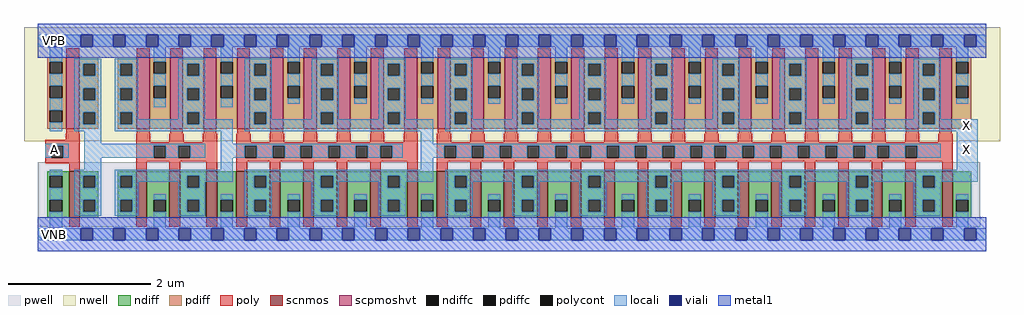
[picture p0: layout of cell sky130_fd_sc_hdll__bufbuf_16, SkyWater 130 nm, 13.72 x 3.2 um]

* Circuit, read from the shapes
.subckt sky130_fd_sc_hdll__bufbuf_16 A VGND VNB VPB VPWR X
XM1 n1 A VGND VNB sky130_fd_pr__nfet_01v8 w=0.65 l=0.15
XM2 VGND n1 n2 VNB sky130_fd_pr__nfet_01v8 w=0.65 l=0.15 m=3
XM3 n3 n2 VGND VNB sky130_fd_pr__nfet_01v8 w=0.65 l=0.15 m=6
XM4 X n3 VGND VNB sky130_fd_pr__nfet_01v8 w=0.65 l=0.15 m=16
XM5 n1 A VPWR VPB sky130_fd_pr__pfet_01v8_hvt w=1 l=0.18
XM6 VPWR n1 n2 VPB sky130_fd_pr__pfet_01v8_hvt w=1 l=0.18 m=3
XM7 n3 n2 VPWR VPB sky130_fd_pr__pfet_01v8_hvt w=1 l=0.18 m=6
XM8 X n3 VPWR VPB sky130_fd_pr__pfet_01v8_hvt w=1 l=0.18 m=16
.ends

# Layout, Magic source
magic
tech sky130A
magscale 1 2
<< nwell >>
rect -38 261 2706 582
<< pwell >>
rect 1 21 2651 203
rect 30 -17 64 21
<< scnmos >>
rect 89 47 119 177
rect 277 47 307 177
rect 371 47 401 177
rect 475 47 505 177
rect 559 47 589 177
rect 653 47 683 177
rect 747 47 777 177
rect 841 47 871 177
rect 935 47 965 177
rect 1039 47 1069 177
rect 1123 47 1153 177
rect 1217 47 1247 177
rect 1311 47 1341 177
rect 1405 47 1435 177
rect 1499 47 1529 177
rect 1593 47 1623 177
rect 1687 47 1717 177
rect 1781 47 1811 177
rect 1875 47 1905 177
rect 1969 47 1999 177
rect 2063 47 2093 177
rect 2157 47 2187 177
rect 2251 47 2281 177
rect 2345 47 2375 177
rect 2439 47 2469 177
rect 2543 47 2573 177
<< scpmoshvt >>
rect 81 297 117 497
rect 279 297 315 497
rect 373 297 409 497
rect 467 297 503 497
rect 561 297 597 497
rect 655 297 691 497
rect 749 297 785 497
rect 843 297 879 497
rect 937 297 973 497
rect 1031 297 1067 497
rect 1125 297 1161 497
rect 1219 297 1255 497
rect 1313 297 1349 497
rect 1407 297 1443 497
rect 1501 297 1537 497
rect 1595 297 1631 497
rect 1689 297 1725 497
rect 1783 297 1819 497
rect 1877 297 1913 497
rect 1971 297 2007 497
rect 2065 297 2101 497
rect 2159 297 2195 497
rect 2253 297 2289 497
rect 2347 297 2383 497
rect 2441 297 2477 497
rect 2535 297 2571 497
<< ndiff >>
rect 27 165 89 177
rect 27 131 35 165
rect 69 131 89 165
rect 27 97 89 131
rect 27 63 35 97
rect 69 63 89 97
rect 27 47 89 63
rect 119 165 171 177
rect 119 131 129 165
rect 163 131 171 165
rect 119 97 171 131
rect 119 63 129 97
rect 163 63 171 97
rect 119 47 171 63
rect 225 165 277 177
rect 225 131 233 165
rect 267 131 277 165
rect 225 97 277 131
rect 225 63 233 97
rect 267 63 277 97
rect 225 47 277 63
rect 307 97 371 177
rect 307 63 327 97
rect 361 63 371 97
rect 307 47 371 63
rect 401 165 475 177
rect 401 131 421 165
rect 455 131 475 165
rect 401 97 475 131
rect 401 63 421 97
rect 455 63 475 97
rect 401 47 475 63
rect 505 97 559 177
rect 505 63 515 97
rect 549 63 559 97
rect 505 47 559 63
rect 589 165 653 177
rect 589 131 609 165
rect 643 131 653 165
rect 589 97 653 131
rect 589 63 609 97
rect 643 63 653 97
rect 589 47 653 63
rect 683 97 747 177
rect 683 63 703 97
rect 737 63 747 97
rect 683 47 747 63
rect 777 165 841 177
rect 777 131 797 165
rect 831 131 841 165
rect 777 97 841 131
rect 777 63 797 97
rect 831 63 841 97
rect 777 47 841 63
rect 871 97 935 177
rect 871 63 891 97
rect 925 63 935 97
rect 871 47 935 63
rect 965 165 1039 177
rect 965 131 985 165
rect 1019 131 1039 165
rect 965 97 1039 131
rect 965 63 985 97
rect 1019 63 1039 97
rect 965 47 1039 63
rect 1069 97 1123 177
rect 1069 63 1079 97
rect 1113 63 1123 97
rect 1069 47 1123 63
rect 1153 165 1217 177
rect 1153 131 1173 165
rect 1207 131 1217 165
rect 1153 97 1217 131
rect 1153 63 1173 97
rect 1207 63 1217 97
rect 1153 47 1217 63
rect 1247 97 1311 177
rect 1247 63 1267 97
rect 1301 63 1311 97
rect 1247 47 1311 63
rect 1341 165 1405 177
rect 1341 131 1361 165
rect 1395 131 1405 165
rect 1341 97 1405 131
rect 1341 63 1361 97
rect 1395 63 1405 97
rect 1341 47 1405 63
rect 1435 97 1499 177
rect 1435 63 1455 97
rect 1489 63 1499 97
rect 1435 47 1499 63
rect 1529 165 1593 177
rect 1529 131 1549 165
rect 1583 131 1593 165
rect 1529 97 1593 131
rect 1529 63 1549 97
rect 1583 63 1593 97
rect 1529 47 1593 63
rect 1623 97 1687 177
rect 1623 63 1643 97
rect 1677 63 1687 97
rect 1623 47 1687 63
rect 1717 165 1781 177
rect 1717 131 1737 165
rect 1771 131 1781 165
rect 1717 97 1781 131
rect 1717 63 1737 97
rect 1771 63 1781 97
rect 1717 47 1781 63
rect 1811 97 1875 177
rect 1811 63 1831 97
rect 1865 63 1875 97
rect 1811 47 1875 63
rect 1905 165 1969 177
rect 1905 131 1925 165
rect 1959 131 1969 165
rect 1905 97 1969 131
rect 1905 63 1925 97
rect 1959 63 1969 97
rect 1905 47 1969 63
rect 1999 97 2063 177
rect 1999 63 2019 97
rect 2053 63 2063 97
rect 1999 47 2063 63
rect 2093 165 2157 177
rect 2093 131 2113 165
rect 2147 131 2157 165
rect 2093 97 2157 131
rect 2093 63 2113 97
rect 2147 63 2157 97
rect 2093 47 2157 63
rect 2187 97 2251 177
rect 2187 63 2207 97
rect 2241 63 2251 97
rect 2187 47 2251 63
rect 2281 165 2345 177
rect 2281 131 2301 165
rect 2335 131 2345 165
rect 2281 97 2345 131
rect 2281 63 2301 97
rect 2335 63 2345 97
rect 2281 47 2345 63
rect 2375 97 2439 177
rect 2375 63 2395 97
rect 2429 63 2439 97
rect 2375 47 2439 63
rect 2469 165 2543 177
rect 2469 131 2489 165
rect 2523 131 2543 165
rect 2469 97 2543 131
rect 2469 63 2489 97
rect 2523 63 2543 97
rect 2469 47 2543 63
rect 2573 97 2625 177
rect 2573 63 2583 97
rect 2617 63 2625 97
rect 2573 47 2625 63
<< pdiff >>
rect 27 485 81 497
rect 27 451 35 485
rect 69 451 81 485
rect 27 417 81 451
rect 27 383 35 417
rect 69 383 81 417
rect 27 349 81 383
rect 27 315 35 349
rect 69 315 81 349
rect 27 297 81 315
rect 117 479 171 497
rect 117 445 129 479
rect 163 445 171 479
rect 117 411 171 445
rect 117 377 129 411
rect 163 377 171 411
rect 117 343 171 377
rect 117 309 129 343
rect 163 309 171 343
rect 117 297 171 309
rect 225 479 279 497
rect 225 445 233 479
rect 267 445 279 479
rect 225 411 279 445
rect 225 377 233 411
rect 267 377 279 411
rect 225 343 279 377
rect 225 309 233 343
rect 267 309 279 343
rect 225 297 279 309
rect 315 485 373 497
rect 315 451 327 485
rect 361 451 373 485
rect 315 417 373 451
rect 315 383 327 417
rect 361 383 373 417
rect 315 297 373 383
rect 409 479 467 497
rect 409 445 421 479
rect 455 445 467 479
rect 409 411 467 445
rect 409 377 421 411
rect 455 377 467 411
rect 409 343 467 377
rect 409 309 421 343
rect 455 309 467 343
rect 409 297 467 309
rect 503 485 561 497
rect 503 451 515 485
rect 549 451 561 485
rect 503 417 561 451
rect 503 383 515 417
rect 549 383 561 417
rect 503 297 561 383
rect 597 479 655 497
rect 597 445 609 479
rect 643 445 655 479
rect 597 411 655 445
rect 597 377 609 411
rect 643 377 655 411
rect 597 343 655 377
rect 597 309 609 343
rect 643 309 655 343
rect 597 297 655 309
rect 691 485 749 497
rect 691 451 703 485
rect 737 451 749 485
rect 691 417 749 451
rect 691 383 703 417
rect 737 383 749 417
rect 691 297 749 383
rect 785 479 843 497
rect 785 445 797 479
rect 831 445 843 479
rect 785 411 843 445
rect 785 377 797 411
rect 831 377 843 411
rect 785 343 843 377
rect 785 309 797 343
rect 831 309 843 343
rect 785 297 843 309
rect 879 485 937 497
rect 879 451 891 485
rect 925 451 937 485
rect 879 417 937 451
rect 879 383 891 417
rect 925 383 937 417
rect 879 297 937 383
rect 973 479 1031 497
rect 973 445 985 479
rect 1019 445 1031 479
rect 973 411 1031 445
rect 973 377 985 411
rect 1019 377 1031 411
rect 973 343 1031 377
rect 973 309 985 343
rect 1019 309 1031 343
rect 973 297 1031 309
rect 1067 485 1125 497
rect 1067 451 1079 485
rect 1113 451 1125 485
rect 1067 417 1125 451
rect 1067 383 1079 417
rect 1113 383 1125 417
rect 1067 297 1125 383
rect 1161 479 1219 497
rect 1161 445 1173 479
rect 1207 445 1219 479
rect 1161 411 1219 445
rect 1161 377 1173 411
rect 1207 377 1219 411
rect 1161 343 1219 377
rect 1161 309 1173 343
rect 1207 309 1219 343
rect 1161 297 1219 309
rect 1255 485 1313 497
rect 1255 451 1267 485
rect 1301 451 1313 485
rect 1255 417 1313 451
rect 1255 383 1267 417
rect 1301 383 1313 417
rect 1255 297 1313 383
rect 1349 479 1407 497
rect 1349 445 1361 479
rect 1395 445 1407 479
rect 1349 411 1407 445
rect 1349 377 1361 411
rect 1395 377 1407 411
rect 1349 343 1407 377
rect 1349 309 1361 343
rect 1395 309 1407 343
rect 1349 297 1407 309
rect 1443 485 1501 497
rect 1443 451 1455 485
rect 1489 451 1501 485
rect 1443 417 1501 451
rect 1443 383 1455 417
rect 1489 383 1501 417
rect 1443 297 1501 383
rect 1537 479 1595 497
rect 1537 445 1549 479
rect 1583 445 1595 479
rect 1537 411 1595 445
rect 1537 377 1549 411
rect 1583 377 1595 411
rect 1537 343 1595 377
rect 1537 309 1549 343
rect 1583 309 1595 343
rect 1537 297 1595 309
rect 1631 485 1689 497
rect 1631 451 1643 485
rect 1677 451 1689 485
rect 1631 417 1689 451
rect 1631 383 1643 417
rect 1677 383 1689 417
rect 1631 297 1689 383
rect 1725 479 1783 497
rect 1725 445 1737 479
rect 1771 445 1783 479
rect 1725 411 1783 445
rect 1725 377 1737 411
rect 1771 377 1783 411
rect 1725 343 1783 377
rect 1725 309 1737 343
rect 1771 309 1783 343
rect 1725 297 1783 309
rect 1819 485 1877 497
rect 1819 451 1831 485
rect 1865 451 1877 485
rect 1819 417 1877 451
rect 1819 383 1831 417
rect 1865 383 1877 417
rect 1819 297 1877 383
rect 1913 479 1971 497
rect 1913 445 1925 479
rect 1959 445 1971 479
rect 1913 411 1971 445
rect 1913 377 1925 411
rect 1959 377 1971 411
rect 1913 343 1971 377
rect 1913 309 1925 343
rect 1959 309 1971 343
rect 1913 297 1971 309
rect 2007 485 2065 497
rect 2007 451 2019 485
rect 2053 451 2065 485
rect 2007 417 2065 451
rect 2007 383 2019 417
rect 2053 383 2065 417
rect 2007 297 2065 383
rect 2101 479 2159 497
rect 2101 445 2113 479
rect 2147 445 2159 479
rect 2101 411 2159 445
rect 2101 377 2113 411
rect 2147 377 2159 411
rect 2101 343 2159 377
rect 2101 309 2113 343
rect 2147 309 2159 343
rect 2101 297 2159 309
rect 2195 485 2253 497
rect 2195 451 2207 485
rect 2241 451 2253 485
rect 2195 417 2253 451
rect 2195 383 2207 417
rect 2241 383 2253 417
rect 2195 297 2253 383
rect 2289 479 2347 497
rect 2289 445 2301 479
rect 2335 445 2347 479
rect 2289 411 2347 445
rect 2289 377 2301 411
rect 2335 377 2347 411
rect 2289 343 2347 377
rect 2289 309 2301 343
rect 2335 309 2347 343
rect 2289 297 2347 309
rect 2383 485 2441 497
rect 2383 451 2395 485
rect 2429 451 2441 485
rect 2383 417 2441 451
rect 2383 383 2395 417
rect 2429 383 2441 417
rect 2383 297 2441 383
rect 2477 479 2535 497
rect 2477 445 2489 479
rect 2523 445 2535 479
rect 2477 411 2535 445
rect 2477 377 2489 411
rect 2523 377 2535 411
rect 2477 343 2535 377
rect 2477 309 2489 343
rect 2523 309 2535 343
rect 2477 297 2535 309
rect 2571 485 2625 497
rect 2571 451 2583 485
rect 2617 451 2625 485
rect 2571 417 2625 451
rect 2571 383 2583 417
rect 2617 383 2625 417
rect 2571 297 2625 383
<< ndiffc >>
rect 35 131 69 165
rect 35 63 69 97
rect 129 131 163 165
rect 129 63 163 97
rect 233 131 267 165
rect 233 63 267 97
rect 327 63 361 97
rect 421 131 455 165
rect 421 63 455 97
rect 515 63 549 97
rect 609 131 643 165
rect 609 63 643 97
rect 703 63 737 97
rect 797 131 831 165
rect 797 63 831 97
rect 891 63 925 97
rect 985 131 1019 165
rect 985 63 1019 97
rect 1079 63 1113 97
rect 1173 131 1207 165
rect 1173 63 1207 97
rect 1267 63 1301 97
rect 1361 131 1395 165
rect 1361 63 1395 97
rect 1455 63 1489 97
rect 1549 131 1583 165
rect 1549 63 1583 97
rect 1643 63 1677 97
rect 1737 131 1771 165
rect 1737 63 1771 97
rect 1831 63 1865 97
rect 1925 131 1959 165
rect 1925 63 1959 97
rect 2019 63 2053 97
rect 2113 131 2147 165
rect 2113 63 2147 97
rect 2207 63 2241 97
rect 2301 131 2335 165
rect 2301 63 2335 97
rect 2395 63 2429 97
rect 2489 131 2523 165
rect 2489 63 2523 97
rect 2583 63 2617 97
<< pdiffc >>
rect 35 451 69 485
rect 35 383 69 417
rect 35 315 69 349
rect 129 445 163 479
rect 129 377 163 411
rect 129 309 163 343
rect 233 445 267 479
rect 233 377 267 411
rect 233 309 267 343
rect 327 451 361 485
rect 327 383 361 417
rect 421 445 455 479
rect 421 377 455 411
rect 421 309 455 343
rect 515 451 549 485
rect 515 383 549 417
rect 609 445 643 479
rect 609 377 643 411
rect 609 309 643 343
rect 703 451 737 485
rect 703 383 737 417
rect 797 445 831 479
rect 797 377 831 411
rect 797 309 831 343
rect 891 451 925 485
rect 891 383 925 417
rect 985 445 1019 479
rect 985 377 1019 411
rect 985 309 1019 343
rect 1079 451 1113 485
rect 1079 383 1113 417
rect 1173 445 1207 479
rect 1173 377 1207 411
rect 1173 309 1207 343
rect 1267 451 1301 485
rect 1267 383 1301 417
rect 1361 445 1395 479
rect 1361 377 1395 411
rect 1361 309 1395 343
rect 1455 451 1489 485
rect 1455 383 1489 417
rect 1549 445 1583 479
rect 1549 377 1583 411
rect 1549 309 1583 343
rect 1643 451 1677 485
rect 1643 383 1677 417
rect 1737 445 1771 479
rect 1737 377 1771 411
rect 1737 309 1771 343
rect 1831 451 1865 485
rect 1831 383 1865 417
rect 1925 445 1959 479
rect 1925 377 1959 411
rect 1925 309 1959 343
rect 2019 451 2053 485
rect 2019 383 2053 417
rect 2113 445 2147 479
rect 2113 377 2147 411
rect 2113 309 2147 343
rect 2207 451 2241 485
rect 2207 383 2241 417
rect 2301 445 2335 479
rect 2301 377 2335 411
rect 2301 309 2335 343
rect 2395 451 2429 485
rect 2395 383 2429 417
rect 2489 445 2523 479
rect 2489 377 2523 411
rect 2489 309 2523 343
rect 2583 451 2617 485
rect 2583 383 2617 417
<< poly >>
rect 81 497 117 523
rect 279 497 315 523
rect 373 497 409 523
rect 467 497 503 523
rect 561 497 597 523
rect 655 497 691 523
rect 749 497 785 523
rect 843 497 879 523
rect 937 497 973 523
rect 1031 497 1067 523
rect 1125 497 1161 523
rect 1219 497 1255 523
rect 1313 497 1349 523
rect 1407 497 1443 523
rect 1501 497 1537 523
rect 1595 497 1631 523
rect 1689 497 1725 523
rect 1783 497 1819 523
rect 1877 497 1913 523
rect 1971 497 2007 523
rect 2065 497 2101 523
rect 2159 497 2195 523
rect 2253 497 2289 523
rect 2347 497 2383 523
rect 2441 497 2477 523
rect 2535 497 2571 523
rect 81 282 117 297
rect 279 282 315 297
rect 373 282 409 297
rect 467 282 503 297
rect 561 282 597 297
rect 655 282 691 297
rect 749 282 785 297
rect 843 282 879 297
rect 937 282 973 297
rect 1031 282 1067 297
rect 1125 282 1161 297
rect 1219 282 1255 297
rect 1313 282 1349 297
rect 1407 282 1443 297
rect 1501 282 1537 297
rect 1595 282 1631 297
rect 1689 282 1725 297
rect 1783 282 1819 297
rect 1877 282 1913 297
rect 1971 282 2007 297
rect 2065 282 2101 297
rect 2159 282 2195 297
rect 2253 282 2289 297
rect 2347 282 2383 297
rect 2441 282 2477 297
rect 2535 282 2571 297
rect 79 265 119 282
rect 22 249 119 265
rect 22 215 38 249
rect 72 215 119 249
rect 22 199 119 215
rect 89 177 119 199
rect 277 259 317 282
rect 371 259 411 282
rect 465 259 505 282
rect 277 249 505 259
rect 277 215 327 249
rect 361 215 395 249
rect 429 215 505 249
rect 277 205 505 215
rect 277 177 307 205
rect 371 177 401 205
rect 475 177 505 205
rect 559 259 599 282
rect 653 259 693 282
rect 747 259 787 282
rect 841 259 881 282
rect 935 259 975 282
rect 1029 259 1069 282
rect 559 249 1069 259
rect 559 215 583 249
rect 617 215 661 249
rect 695 215 739 249
rect 773 215 817 249
rect 851 215 895 249
rect 929 215 963 249
rect 997 215 1069 249
rect 559 205 1069 215
rect 559 177 589 205
rect 653 177 683 205
rect 747 177 777 205
rect 841 177 871 205
rect 935 177 965 205
rect 1039 177 1069 205
rect 1123 259 1163 282
rect 1217 259 1257 282
rect 1311 259 1351 282
rect 1405 259 1445 282
rect 1499 259 1539 282
rect 1593 259 1633 282
rect 1687 259 1727 282
rect 1781 259 1821 282
rect 1875 259 1915 282
rect 1969 259 2009 282
rect 2063 259 2103 282
rect 2157 259 2197 282
rect 2251 259 2291 282
rect 2345 259 2385 282
rect 2439 259 2479 282
rect 2533 259 2573 282
rect 1123 249 2573 259
rect 1123 215 1143 249
rect 1177 215 1221 249
rect 1255 215 1299 249
rect 1333 215 1377 249
rect 1411 215 1455 249
rect 1489 215 1523 249
rect 1557 215 1601 249
rect 1635 215 1679 249
rect 1713 215 1757 249
rect 1791 215 1835 249
rect 1869 215 1903 249
rect 1937 215 1981 249
rect 2015 215 2059 249
rect 2093 215 2137 249
rect 2171 215 2215 249
rect 2249 215 2293 249
rect 2327 215 2361 249
rect 2395 215 2439 249
rect 2473 215 2573 249
rect 1123 205 2573 215
rect 1123 177 1153 205
rect 1217 177 1247 205
rect 1311 177 1341 205
rect 1405 177 1435 205
rect 1499 177 1529 205
rect 1593 177 1623 205
rect 1687 177 1717 205
rect 1781 177 1811 205
rect 1875 177 1905 205
rect 1969 177 1999 205
rect 2063 177 2093 205
rect 2157 177 2187 205
rect 2251 177 2281 205
rect 2345 177 2375 205
rect 2439 177 2469 205
rect 2543 177 2573 205
rect 89 21 119 47
rect 277 21 307 47
rect 371 21 401 47
rect 475 21 505 47
rect 559 21 589 47
rect 653 21 683 47
rect 747 21 777 47
rect 841 21 871 47
rect 935 21 965 47
rect 1039 21 1069 47
rect 1123 21 1153 47
rect 1217 21 1247 47
rect 1311 21 1341 47
rect 1405 21 1435 47
rect 1499 21 1529 47
rect 1593 21 1623 47
rect 1687 21 1717 47
rect 1781 21 1811 47
rect 1875 21 1905 47
rect 1969 21 1999 47
rect 2063 21 2093 47
rect 2157 21 2187 47
rect 2251 21 2281 47
rect 2345 21 2375 47
rect 2439 21 2469 47
rect 2543 21 2573 47
<< polycont >>
rect 38 215 72 249
rect 327 215 361 249
rect 395 215 429 249
rect 583 215 617 249
rect 661 215 695 249
rect 739 215 773 249
rect 817 215 851 249
rect 895 215 929 249
rect 963 215 997 249
rect 1143 215 1177 249
rect 1221 215 1255 249
rect 1299 215 1333 249
rect 1377 215 1411 249
rect 1455 215 1489 249
rect 1523 215 1557 249
rect 1601 215 1635 249
rect 1679 215 1713 249
rect 1757 215 1791 249
rect 1835 215 1869 249
rect 1903 215 1937 249
rect 1981 215 2015 249
rect 2059 215 2093 249
rect 2137 215 2171 249
rect 2215 215 2249 249
rect 2293 215 2327 249
rect 2361 215 2395 249
rect 2439 215 2473 249
<< locali >>
rect 0 527 29 561
rect 63 527 121 561
rect 155 527 213 561
rect 247 527 305 561
rect 339 527 397 561
rect 431 527 489 561
rect 523 527 581 561
rect 615 527 673 561
rect 707 527 765 561
rect 799 527 857 561
rect 891 527 949 561
rect 983 527 1041 561
rect 1075 527 1133 561
rect 1167 527 1225 561
rect 1259 527 1317 561
rect 1351 527 1409 561
rect 1443 527 1501 561
rect 1535 527 1593 561
rect 1627 527 1685 561
rect 1719 527 1777 561
rect 1811 527 1869 561
rect 1903 527 1961 561
rect 1995 527 2053 561
rect 2087 527 2145 561
rect 2179 527 2237 561
rect 2271 527 2329 561
rect 2363 527 2421 561
rect 2455 527 2513 561
rect 2547 527 2605 561
rect 2639 527 2668 561
rect 35 485 69 527
rect 35 417 69 451
rect 35 349 69 383
rect 35 289 69 315
rect 103 479 179 493
rect 103 445 129 479
rect 163 445 179 479
rect 103 411 179 445
rect 103 377 129 411
rect 163 377 179 411
rect 103 343 179 377
rect 103 309 129 343
rect 163 309 179 343
rect 103 289 179 309
rect 217 479 283 493
rect 217 445 233 479
rect 267 445 283 479
rect 217 411 283 445
rect 217 377 233 411
rect 267 377 283 411
rect 217 343 283 377
rect 327 485 361 527
rect 327 417 361 451
rect 327 357 361 383
rect 395 479 471 493
rect 395 445 421 479
rect 455 445 471 479
rect 395 411 471 445
rect 395 377 421 411
rect 455 377 471 411
rect 217 309 233 343
rect 267 323 283 343
rect 395 343 471 377
rect 515 485 549 527
rect 515 417 549 451
rect 515 357 549 383
rect 583 479 659 493
rect 583 445 609 479
rect 643 445 659 479
rect 583 411 659 445
rect 583 377 609 411
rect 643 377 659 411
rect 395 323 421 343
rect 267 309 421 323
rect 455 323 471 343
rect 583 343 659 377
rect 703 485 737 527
rect 703 417 737 451
rect 703 367 737 383
rect 771 479 847 493
rect 771 445 797 479
rect 831 445 847 479
rect 771 411 847 445
rect 771 377 797 411
rect 831 377 847 411
rect 455 309 549 323
rect 217 289 549 309
rect 583 309 609 343
rect 643 323 659 343
rect 771 343 847 377
rect 891 485 925 527
rect 891 417 925 451
rect 891 367 925 383
rect 959 479 1035 493
rect 959 445 985 479
rect 1019 445 1035 479
rect 959 411 1035 445
rect 959 377 985 411
rect 1019 377 1035 411
rect 771 323 797 343
rect 643 309 797 323
rect 831 323 847 343
rect 959 343 1035 377
rect 1079 485 1113 527
rect 1079 417 1113 451
rect 1079 367 1113 383
rect 1147 479 1223 493
rect 1147 445 1173 479
rect 1207 445 1223 479
rect 1147 411 1223 445
rect 1147 377 1173 411
rect 1207 377 1223 411
rect 959 323 985 343
rect 831 309 985 323
rect 1019 323 1035 343
rect 1147 343 1223 377
rect 1267 485 1301 527
rect 1267 417 1301 451
rect 1267 367 1301 383
rect 1335 479 1411 493
rect 1335 445 1361 479
rect 1395 445 1411 479
rect 1335 411 1411 445
rect 1335 377 1361 411
rect 1395 377 1411 411
rect 1019 309 1113 323
rect 583 289 1113 309
rect 1147 309 1173 343
rect 1207 323 1223 343
rect 1335 343 1411 377
rect 1455 485 1489 527
rect 1455 417 1489 451
rect 1455 367 1489 383
rect 1523 479 1599 493
rect 1523 445 1549 479
rect 1583 445 1599 479
rect 1523 411 1599 445
rect 1523 377 1549 411
rect 1583 377 1599 411
rect 1335 323 1361 343
rect 1207 309 1361 323
rect 1395 323 1411 343
rect 1523 343 1599 377
rect 1643 485 1677 527
rect 1643 417 1677 451
rect 1643 367 1677 383
rect 1711 479 1787 493
rect 1711 445 1737 479
rect 1771 445 1787 479
rect 1711 411 1787 445
rect 1711 377 1737 411
rect 1771 377 1787 411
rect 1523 323 1549 343
rect 1395 309 1549 323
rect 1583 323 1599 343
rect 1711 343 1787 377
rect 1831 485 1865 527
rect 1831 417 1865 451
rect 1831 367 1865 383
rect 1899 479 1975 493
rect 1899 445 1925 479
rect 1959 445 1975 479
rect 1899 411 1975 445
rect 1899 377 1925 411
rect 1959 377 1975 411
rect 1711 323 1737 343
rect 1583 309 1737 323
rect 1771 323 1787 343
rect 1899 343 1975 377
rect 2019 485 2053 527
rect 2019 417 2053 451
rect 2019 367 2053 383
rect 2087 479 2163 493
rect 2087 445 2113 479
rect 2147 445 2163 479
rect 2087 411 2163 445
rect 2087 377 2113 411
rect 2147 377 2163 411
rect 1899 323 1925 343
rect 1771 309 1925 323
rect 1959 323 1975 343
rect 2087 343 2163 377
rect 2207 485 2241 527
rect 2207 417 2241 451
rect 2207 367 2241 383
rect 2275 479 2351 493
rect 2275 445 2301 479
rect 2335 445 2351 479
rect 2275 411 2351 445
rect 2275 377 2301 411
rect 2335 377 2351 411
rect 2087 323 2113 343
rect 1959 309 2113 323
rect 2147 323 2163 343
rect 2275 343 2351 377
rect 2395 485 2429 527
rect 2395 417 2429 451
rect 2395 367 2429 383
rect 2463 479 2539 493
rect 2463 445 2489 479
rect 2523 445 2539 479
rect 2463 411 2539 445
rect 2463 377 2489 411
rect 2523 377 2539 411
rect 2275 323 2301 343
rect 2147 309 2301 323
rect 2335 323 2351 343
rect 2463 343 2539 377
rect 2583 485 2617 527
rect 2583 417 2617 451
rect 2583 367 2617 383
rect 2463 323 2489 343
rect 2335 309 2489 323
rect 2523 323 2539 343
rect 2523 309 2644 323
rect 1147 289 2644 309
rect 132 255 179 289
rect 515 255 549 289
rect 1078 255 1113 289
rect 22 249 88 255
rect 22 215 38 249
rect 72 215 88 249
rect 132 249 471 255
rect 132 215 327 249
rect 361 215 395 249
rect 429 215 471 249
rect 515 249 1027 255
rect 515 215 583 249
rect 617 215 661 249
rect 695 215 739 249
rect 773 215 817 249
rect 851 215 895 249
rect 929 215 963 249
rect 997 215 1027 249
rect 1078 249 2540 255
rect 1078 215 1143 249
rect 1177 215 1221 249
rect 1255 215 1299 249
rect 1333 215 1377 249
rect 1411 215 1455 249
rect 1489 215 1523 249
rect 1557 215 1601 249
rect 1635 215 1679 249
rect 1713 215 1757 249
rect 1791 215 1835 249
rect 1869 215 1903 249
rect 1937 215 1981 249
rect 2015 215 2059 249
rect 2093 215 2137 249
rect 2171 215 2215 249
rect 2249 215 2293 249
rect 2327 215 2361 249
rect 2395 215 2439 249
rect 2473 215 2540 249
rect 132 181 179 215
rect 515 181 549 215
rect 1078 181 1113 215
rect 2584 181 2644 289
rect 35 165 69 181
rect 35 97 69 131
rect 35 17 69 63
rect 103 165 179 181
rect 103 131 129 165
rect 163 131 179 165
rect 103 97 179 131
rect 103 63 129 97
rect 163 63 179 97
rect 103 52 179 63
rect 217 165 549 181
rect 217 131 233 165
rect 267 147 421 165
rect 267 131 283 147
rect 217 97 283 131
rect 395 131 421 147
rect 455 147 549 165
rect 583 165 1113 181
rect 455 131 471 147
rect 217 63 233 97
rect 267 63 283 97
rect 217 52 283 63
rect 327 97 361 113
rect 327 17 361 63
rect 395 97 471 131
rect 583 131 609 165
rect 643 147 797 165
rect 643 131 659 147
rect 395 63 421 97
rect 455 63 471 97
rect 395 52 471 63
rect 515 97 549 113
rect 515 17 549 63
rect 583 97 659 131
rect 771 131 797 147
rect 831 147 985 165
rect 831 131 847 147
rect 583 63 609 97
rect 643 63 659 97
rect 583 52 659 63
rect 703 97 737 113
rect 703 17 737 63
rect 771 97 847 131
rect 959 131 985 147
rect 1019 147 1113 165
rect 1147 165 2644 181
rect 1019 131 1035 147
rect 771 63 797 97
rect 831 63 847 97
rect 771 52 847 63
rect 891 97 925 113
rect 891 17 925 63
rect 959 97 1035 131
rect 1147 131 1173 165
rect 1207 147 1361 165
rect 1207 131 1223 147
rect 959 63 985 97
rect 1019 63 1035 97
rect 959 52 1035 63
rect 1079 97 1113 113
rect 1079 17 1113 63
rect 1147 97 1223 131
rect 1335 131 1361 147
rect 1395 147 1549 165
rect 1395 131 1411 147
rect 1147 63 1173 97
rect 1207 63 1223 97
rect 1147 52 1223 63
rect 1267 97 1301 113
rect 1147 51 1207 52
rect 1267 17 1301 63
rect 1335 97 1411 131
rect 1523 131 1549 147
rect 1583 147 1737 165
rect 1583 131 1599 147
rect 1335 63 1361 97
rect 1395 63 1411 97
rect 1335 52 1411 63
rect 1455 97 1489 113
rect 1361 51 1395 52
rect 1455 17 1489 63
rect 1523 97 1599 131
rect 1711 131 1737 147
rect 1771 147 1925 165
rect 1771 131 1787 147
rect 1523 63 1549 97
rect 1583 63 1599 97
rect 1523 52 1599 63
rect 1643 97 1677 113
rect 1549 51 1583 52
rect 1643 17 1677 63
rect 1711 97 1787 131
rect 1899 131 1925 147
rect 1959 147 2113 165
rect 1959 131 1975 147
rect 1711 63 1737 97
rect 1771 63 1787 97
rect 1711 52 1787 63
rect 1831 97 1865 113
rect 1831 17 1865 63
rect 1899 97 1975 131
rect 2087 131 2113 147
rect 2147 147 2301 165
rect 2147 131 2163 147
rect 1899 63 1925 97
rect 1959 63 1975 97
rect 1899 52 1975 63
rect 2019 97 2053 113
rect 2019 17 2053 63
rect 2087 97 2163 131
rect 2275 131 2301 147
rect 2335 147 2489 165
rect 2335 131 2351 147
rect 2087 63 2113 97
rect 2147 63 2163 97
rect 2087 52 2163 63
rect 2207 97 2241 113
rect 2207 17 2241 63
rect 2275 97 2351 131
rect 2463 131 2489 147
rect 2523 147 2644 165
rect 2523 131 2539 147
rect 2275 63 2301 97
rect 2335 63 2351 97
rect 2275 52 2351 63
rect 2395 97 2429 113
rect 2395 17 2429 63
rect 2463 97 2539 131
rect 2463 63 2489 97
rect 2523 63 2539 97
rect 2463 52 2539 63
rect 2583 97 2617 113
rect 2583 17 2617 63
rect 0 -17 29 17
rect 63 -17 121 17
rect 155 -17 213 17
rect 247 -17 305 17
rect 339 -17 397 17
rect 431 -17 489 17
rect 523 -17 581 17
rect 615 -17 673 17
rect 707 -17 765 17
rect 799 -17 857 17
rect 891 -17 949 17
rect 983 -17 1041 17
rect 1075 -17 1133 17
rect 1167 -17 1225 17
rect 1259 -17 1317 17
rect 1351 -17 1409 17
rect 1443 -17 1501 17
rect 1535 -17 1593 17
rect 1627 -17 1685 17
rect 1719 -17 1777 17
rect 1811 -17 1869 17
rect 1903 -17 1961 17
rect 1995 -17 2053 17
rect 2087 -17 2145 17
rect 2179 -17 2237 17
rect 2271 -17 2329 17
rect 2363 -17 2421 17
rect 2455 -17 2513 17
rect 2547 -17 2605 17
rect 2639 -17 2668 17
<< viali >>
rect 29 527 63 561
rect 121 527 155 561
rect 213 527 247 561
rect 305 527 339 561
rect 397 527 431 561
rect 489 527 523 561
rect 581 527 615 561
rect 673 527 707 561
rect 765 527 799 561
rect 857 527 891 561
rect 949 527 983 561
rect 1041 527 1075 561
rect 1133 527 1167 561
rect 1225 527 1259 561
rect 1317 527 1351 561
rect 1409 527 1443 561
rect 1501 527 1535 561
rect 1593 527 1627 561
rect 1685 527 1719 561
rect 1777 527 1811 561
rect 1869 527 1903 561
rect 1961 527 1995 561
rect 2053 527 2087 561
rect 2145 527 2179 561
rect 2237 527 2271 561
rect 2329 527 2363 561
rect 2421 527 2455 561
rect 2513 527 2547 561
rect 2605 527 2639 561
rect 29 -17 63 17
rect 121 -17 155 17
rect 213 -17 247 17
rect 305 -17 339 17
rect 397 -17 431 17
rect 489 -17 523 17
rect 581 -17 615 17
rect 673 -17 707 17
rect 765 -17 799 17
rect 857 -17 891 17
rect 949 -17 983 17
rect 1041 -17 1075 17
rect 1133 -17 1167 17
rect 1225 -17 1259 17
rect 1317 -17 1351 17
rect 1409 -17 1443 17
rect 1501 -17 1535 17
rect 1593 -17 1627 17
rect 1685 -17 1719 17
rect 1777 -17 1811 17
rect 1869 -17 1903 17
rect 1961 -17 1995 17
rect 2053 -17 2087 17
rect 2145 -17 2179 17
rect 2237 -17 2271 17
rect 2329 -17 2363 17
rect 2421 -17 2455 17
rect 2513 -17 2547 17
rect 2605 -17 2639 17
<< metal1 >>
rect 0 561 2668 592
rect 0 527 29 561
rect 63 527 121 561
rect 155 527 213 561
rect 247 527 305 561
rect 339 527 397 561
rect 431 527 489 561
rect 523 527 581 561
rect 615 527 673 561
rect 707 527 765 561
rect 799 527 857 561
rect 891 527 949 561
rect 983 527 1041 561
rect 1075 527 1133 561
rect 1167 527 1225 561
rect 1259 527 1317 561
rect 1351 527 1409 561
rect 1443 527 1501 561
rect 1535 527 1593 561
rect 1627 527 1685 561
rect 1719 527 1777 561
rect 1811 527 1869 561
rect 1903 527 1961 561
rect 1995 527 2053 561
rect 2087 527 2145 561
rect 2179 527 2237 561
rect 2271 527 2329 561
rect 2363 527 2421 561
rect 2455 527 2513 561
rect 2547 527 2605 561
rect 2639 527 2668 561
rect 0 496 2668 527
rect 0 17 2668 48
rect 0 -17 29 17
rect 63 -17 121 17
rect 155 -17 213 17
rect 247 -17 305 17
rect 339 -17 397 17
rect 431 -17 489 17
rect 523 -17 581 17
rect 615 -17 673 17
rect 707 -17 765 17
rect 799 -17 857 17
rect 891 -17 949 17
rect 983 -17 1041 17
rect 1075 -17 1133 17
rect 1167 -17 1225 17
rect 1259 -17 1317 17
rect 1351 -17 1409 17
rect 1443 -17 1501 17
rect 1535 -17 1593 17
rect 1627 -17 1685 17
rect 1719 -17 1777 17
rect 1811 -17 1869 17
rect 1903 -17 1961 17
rect 1995 -17 2053 17
rect 2087 -17 2145 17
rect 2179 -17 2237 17
rect 2271 -17 2329 17
rect 2363 -17 2421 17
rect 2455 -17 2513 17
rect 2547 -17 2605 17
rect 2639 -17 2668 17
rect 0 -48 2668 -17
<< labels >>
flabel locali s 30 221 64 255 0 FreeSans 200 0 0 0 A
port 1 nsew signal input
flabel locali s 2594 221 2628 255 0 FreeSans 200 0 0 0 X
port 6 nsew signal output
flabel locali s 2594 289 2628 323 0 FreeSans 200 0 0 0 X
port 6 nsew signal output
flabel pwell s 30 -17 64 17 0 FreeSans 200 0 0 0 VNB
port 3 nsew ground bidirectional
flabel nwell s 30 527 64 561 0 FreeSans 200 0 0 0 VPB
port 4 nsew power bidirectional
flabel metal1 s 30 -17 64 17 0 FreeSans 200 0 0 0 VGND
port 2 nsew ground bidirectional
flabel metal1 s 30 527 64 561 0 FreeSans 200 0 0 0 VPWR
port 5 nsew power bidirectional
rlabel comment s 0 0 0 0 4 bufbuf_16
<< properties >>
string LEFsite unithd
string LEFclass CORE
string FIXED_BBOX 0 0 2668 544
string GDS_FILE $PDKPATH/libs.ref/sky130_fd_sc_hdll/gds/sky130_fd_sc_hdll.gds
string LEFsymmetry X Y R90
string GDS_END 1977410
string GDS_START 1957960
string LEFproperties maskLayoutSubType "abstract" prCellType "standard" originalViewName "layout"
<< end >>
